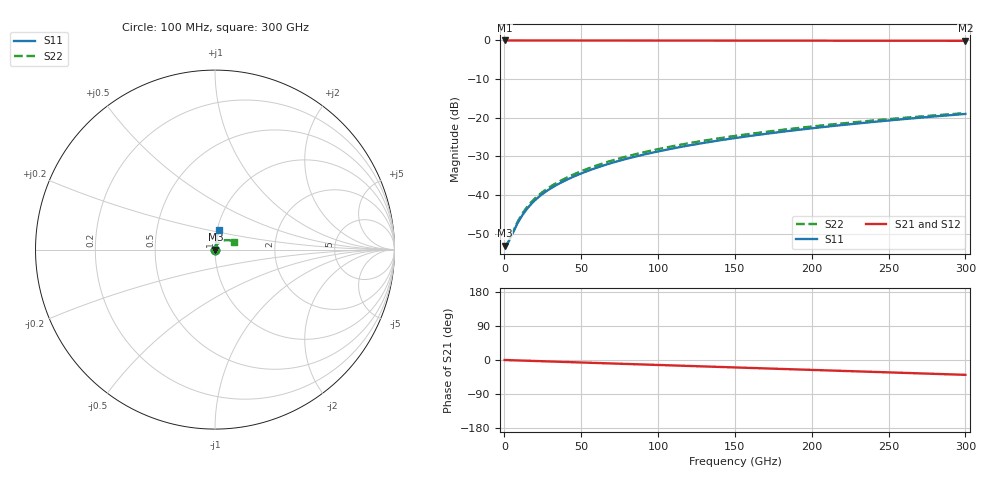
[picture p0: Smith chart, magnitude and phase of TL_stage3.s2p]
#  Hz  S  RI  R  50
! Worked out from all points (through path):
!   3000 points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, 100 MHz to 300 GHz, reference 50 ohm
!   highest |S21| = -0.02 dB at 100 MHz (marker M1); lowest = -0.1 dB at 300 GHz (marker M2)
!   group delay of S21, straight-line fit = 362 fs
!   lowest |S11| = -53.2 dB at 100 MHz (marker M3), VSWR 1.00, Z = 50.2 + j0.00427 ohm
!   |S11| at or under -10 dB: start of sweep to end of sweep
!   |S22| runs from -53.3 to -18.8 dB; largest |S21 - S12| = 0.00095
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1e8  0.00219 4.26e-05  0.9978 -0.000236  0.9978 -0.000235  0.00217 4.43e-05
1.4e9  0.0022 0.000596  0.9978 -0.0033  0.9978 -0.00329  0.00218 0.00062
2.7e9  0.00221 0.00115  0.9978 -0.00636  0.9978 -0.00635  0.0022 0.00119
7.8e9  0.00234 0.00329  0.9975 -0.0183  0.9975 -0.0183  0.00241 0.00342
9.6e9  0.00241 0.00402  0.9973 -0.0225  0.9973 -0.0225  0.00252 0.00418
1.14e10  0.00249 0.00475  0.9971 -0.0267  0.9971 -0.0267  0.00266 0.00494
1.51e10  0.00267 0.00621  0.9967 -0.0353  0.9967 -0.0352  0.00299 0.00644
1.94e10  0.0029 0.00783  0.9961 -0.0451  0.9961 -0.0451  0.00343 0.00811
2.51e10  0.0032 0.00989  0.9951 -0.058  0.9951 -0.058  0.00406 0.0102
3.2e10  0.00349 0.0123  0.9939 -0.0736  0.9939 -0.0736  0.00487 0.0127
4.04e10  0.00376 0.0152  0.9921 -0.0925  0.9921 -0.0925  0.00592 0.0156
5.01e10  0.004 0.0186  0.9897 -0.1144  0.9897 -0.1144  0.0073 0.0189
6.07e10  0.0043 0.0223  0.9863 -0.1382  0.9864 -0.1382  0.00911 0.0226
7.23e10  0.00469 0.0264  0.982 -0.1641  0.9821 -0.1642  0.0114 0.0263
8.53e10  0.00514 0.031  0.9764 -0.193  0.9765 -0.1931  0.0144 0.0303
1.001e11  0.00565 0.0362  0.969 -0.2257  0.9691 -0.2258  0.0183 0.0346
1.234e11  0.00656 0.0444  0.9551 -0.2765  0.9553 -0.2767  0.0254 0.0406
1.501e11  0.00777 0.0539  0.9359 -0.3337  0.9361 -0.3339  0.035 0.0462
1.739e11  0.00905 0.0625  0.9158 -0.3835  0.916 -0.3839  0.0446 0.0499
2.001e11  0.0107 0.0721  0.8905 -0.437  0.8907 -0.4374  0.0562 0.0524
2.501e11  0.0147 0.0907  0.8335 -0.5343  0.8337 -0.5349  0.0804 0.0518
3e11  0.0202 0.1098  0.7657 -0.6238  0.7657 -0.6247  0.1058 0.0437
